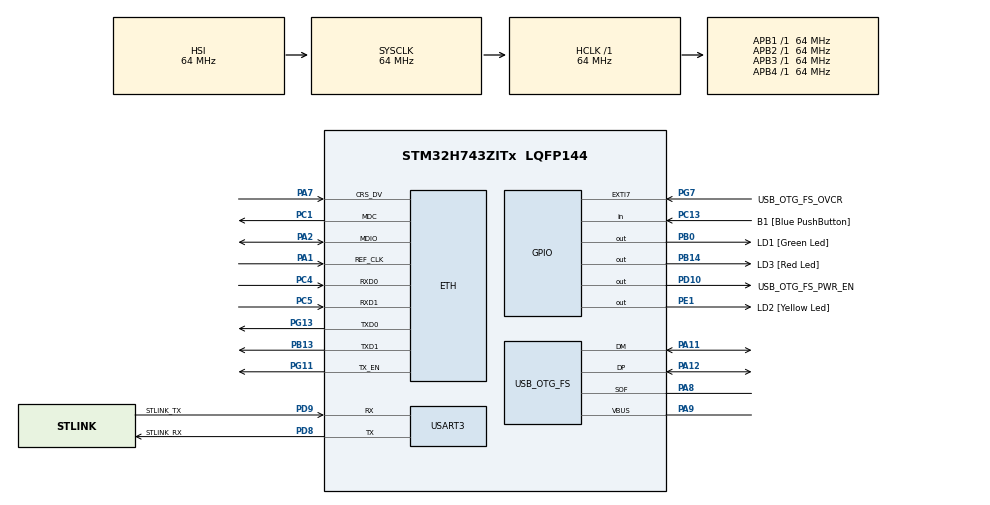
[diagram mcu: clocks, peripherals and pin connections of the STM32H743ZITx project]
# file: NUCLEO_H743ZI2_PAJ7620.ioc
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ETH.MediaInterface=HAL_ETH_RMII_MODE
Mcu.Family=STM32H7
Mcu.Name=STM32H743ZITx
Mcu.Package=LQFP144
NVIC.PriorityGroup=NVIC_PRIORITYGROUP_4
NVIC.USART3_IRQn=true\:0\:0\:false\:false\:true\:true\:true
PA1.Mode=RMII
PA1.Signal=ETH_REF_CLK
PA11.Mode=Device_Only
PA11.Signal=USB_OTG_FS_DM
PA12.Mode=Device_Only
PA12.Signal=USB_OTG_FS_DP
PA2.Mode=RMII
PA2.Signal=ETH_MDIO
PA7.Mode=RMII
PA7.Signal=ETH_CRS_DV
PA8.Mode=Activate_SOF_FS
PA8.Signal=USB_OTG_FS_SOF
PA9.Mode=Activate_VBUS
PA9.Signal=USB_OTG_FS_VBUS
PB0.GPIO_Label=LD1 [Green Led]
PB0.Signal=GPIO_Output
PB13.Mode=RMII
PB13.Signal=ETH_TXD1
PB14.GPIO_Label=LD3 [Red Led]
PB14.Signal=GPIO_Output
PC1.Mode=RMII
PC1.Signal=ETH_MDC
PC13.GPIO_Label=B1 [Blue PushButton]
PC13.Signal=GPIO_Input
PC14-OSC32_IN\ (OSC32_IN).Mode=LSE-External-Oscillator
PC14-OSC32_IN\ (OSC32_IN).Signal=RCC_OSC32_IN
PC15-OSC32_OUT\ (OSC32_OUT).Mode=LSE-External-Oscillator
PC15-OSC32_OUT\ (OSC32_OUT).Signal=RCC_OSC32_OUT
PC4.Mode=RMII
PC4.Signal=ETH_RXD0
PC5.Mode=RMII
PC5.Signal=ETH_RXD1
PD10.GPIO_Label=USB_OTG_FS_PWR_EN
PD10.Signal=GPIO_Output
PD8.GPIO_Label=STLINK_RX
PD8.Mode=Asynchronous
PD8.Signal=USART3_TX
PD9.GPIO_Label=STLINK_TX
PD9.Mode=Asynchronous
PD9.Signal=USART3_RX
PE1.GPIO_Label=LD2 [Yellow Led]
PE1.Signal=GPIO_Output
PG11.Mode=RMII
PG11.Signal=ETH_TX_EN
PG13.Mode=RMII
PG13.Signal=ETH_TXD0
PG7.GPIO_Label=USB_OTG_FS_OVCR
PG7.Signal=GPXTI7
PH0-OSC_IN\ (PH0).Mode=HSE-External-Clock-Source
PH0-OSC_IN\ (PH0).Signal=RCC_OSC_IN
PH1-OSC_OUT\ (PH1).Signal=RCC_OSC_OUT
ProjectManager.HeapSize=0x200
ProjectManager.StackSize=0x400
ProjectManager.TargetToolchain=MDK-ARM V5.32
RCC.ADCFreq_Value=16125000
RCC.APB1Freq_Value=64000000
RCC.APB2Freq_Value=64000000
RCC.APB3Freq_Value=64000000
RCC.APB4Freq_Value=64000000
RCC.CortexFreq_Value=64000000
RCC.DIVM1=1
RCC.DIVN1=24
RCC.DIVQ1=4
RCC.HCLKFreq_Value=64000000
RCC.HSE_VALUE=8000000
RCC.PLLFRACN=0
RCC.PWR_Regulator_Voltage_Scale=PWR_REGULATOR_VOLTAGE_SCALE2
RCC.SYSCLKFreq_VALUE=64000000
RCC.USBFreq_Value=48000000
USART3.VirtualMode-Asynchronous=VM_ASYNC
USB_OTG_FS.VirtualMode=Device_Only
board=NUCLEO-H743ZI2

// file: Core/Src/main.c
/* USER CODE BEGIN Header */
/**
  ******************************************************************************
  * @file           : main.c
  * @brief          : Main program body
  ******************************************************************************
  * @attention
  *
  * <h2><center>&copy; Copyright (c) 2021 STMicroelectronics.
  * All rights reserved.</center></h2>
  *
  * This software component is licensed by ST under BSD 3-Clause license,
  * the "License"; You may not use this file except in compliance with the
  * License. You may obtain a copy of the License at:
  *                        opensource.org/licenses/BSD-3-Clause
  *
  ******************************************************************************
  */
/* USER CODE END Header */
#include "main.h"
#include "eth.h"
#include "usart.h"
#include "usb_otg.h"
#include "gpio.h"

/* USER CODE BEGIN Includes */
#include "PAJ7620/paj7620.h"
/* USER CODE END Includes */

/* USER CODE BEGIN PV */
MyUARTHandle uart3;
uint8_t uartBuf3[100];
/* USER CODE END PV */

void SystemClock_Config(void);

int main(void)
{
  /* USER CODE BEGIN 1 */
  uint8_t gesture;
  uint16_t tmp;
  uint8_t str[30];
  /* USER CODE END 1 */

  /* MCU Configuration--------------------------------------------------------*/

  /* Reset of all peripherals, Initializes the Flash interface and the Systick. */
  HAL_Init();

  /* Configure the system clock */
  SystemClock_Config();

  /* Initialize all configured peripherals */
  MX_GPIO_Init();
  MX_ETH_Init();
  MX_USART3_UART_Init();
  MX_USB_OTG_FS_PCD_Init();
  /* USER CODE BEGIN 2 */
  Delay_Init(64);
  MyUART_SetOStream(USART3);
  MyUART_Init(&uart3, USART3, uartBuf3, 100);
  printf("PAJ7620 Test\r\n");
  printf("Init: %d\r\n", PAJ7620_Init(GPIOF, 6, GPIOF, 7));
  /* USER CODE END 2 */

  /* Infinite loop */
  while (1)
  {

    /* USER CODE BEGIN 3 */
    Delay_ms(500);
    gesture = PAJ7620_Gesture9(600, 500);

    if(gesture != 0)
    {
      printf("Val: 0x%x\r\n", gesture);
      //printf("Gesture: %s", gestureText[gesture]);
      printf("\r\n");
    }
    if(MyUART_ReadUntilWithZero(&uart3, str, '>'))
      printf("%s\r\n", str);
  }
  /* USER CODE END 3 */
}

void SystemClock_Config(void)
{
  RCC_OscInitTypeDef RCC_OscInitStruct = {0};
  RCC_ClkInitTypeDef RCC_ClkInitStruct = {0};

  /** Supply configuration update enable
  */
  HAL_PWREx_ConfigSupply(PWR_LDO_SUPPLY);
  /** Configure the main internal regulator output voltage
  */
  __HAL_PWR_VOLTAGESCALING_CONFIG(PWR_REGULATOR_VOLTAGE_SCALE2);

  while(!__HAL_PWR_GET_FLAG(PWR_FLAG_VOSRDY)) {}
  /** Initializes the RCC Oscillators according to the specified parameters
  * in the RCC_OscInitTypeDef structure.
  */
  RCC_OscInitStruct.OscillatorType = RCC_OSCILLATORTYPE_HSI|RCC_OSCILLATORTYPE_HSE;
  RCC_OscInitStruct.HSEState = RCC_HSE_BYPASS;
  RCC_OscInitStruct.HSIState = RCC_HSI_DIV1;
  RCC_OscInitStruct.HSICalibrationValue = RCC_HSICALIBRATION_DEFAULT;
  RCC_OscInitStruct.PLL.PLLState = RCC_PLL_ON;
  RCC_OscInitStruct.PLL.PLLSource = RCC_PLLSOURCE_HSE;
  RCC_OscInitStruct.PLL.PLLM = 1;
  RCC_OscInitStruct.PLL.PLLN = 24;
  RCC_OscInitStruct.PLL.PLLP = 2;
  RCC_OscInitStruct.PLL.PLLQ = 4;
  RCC_OscInitStruct.PLL.PLLR = 2;
  RCC_OscInitStruct.PLL.PLLRGE = RCC_PLL1VCIRANGE_3;
  RCC_OscInitStruct.PLL.PLLVCOSEL = RCC_PLL1VCOWIDE;
  RCC_OscInitStruct.PLL.PLLFRACN = 0;
  if (HAL_RCC_OscConfig(&RCC_OscInitStruct) != HAL_OK)
  {
    Error_Handler();
  }
  /** Initializes the CPU, AHB and APB buses clocks
  */
  RCC_ClkInitStruct.ClockType = RCC_CLOCKTYPE_HCLK|RCC_CLOCKTYPE_SYSCLK
                              |RCC_CLOCKTYPE_PCLK1|RCC_CLOCKTYPE_PCLK2
                              |RCC_CLOCKTYPE_D3PCLK1|RCC_CLOCKTYPE_D1PCLK1;
  RCC_ClkInitStruct.SYSCLKSource = RCC_SYSCLKSOURCE_HSI;
  RCC_ClkInitStruct.SYSCLKDivider = RCC_SYSCLK_DIV1;
  RCC_ClkInitStruct.AHBCLKDivider = RCC_HCLK_DIV1;
  RCC_ClkInitStruct.APB3CLKDivider = RCC_APB3_DIV1;
  RCC_ClkInitStruct.APB1CLKDivider = RCC_APB1_DIV1;
  RCC_ClkInitStruct.APB2CLKDivider = RCC_APB2_DIV1;
  RCC_ClkInitStruct.APB4CLKDivider = RCC_APB4_DIV1;

  if (HAL_RCC_ClockConfig(&RCC_ClkInitStruct, FLASH_LATENCY_1) != HAL_OK)
  {
    Error_Handler();
  }
}

void Error_Handler(void)
{
  __disable_irq();
  while (1)
  {
  }
}

/************************ (C) COPYRIGHT STMicroelectronics *****END OF FILE****/
